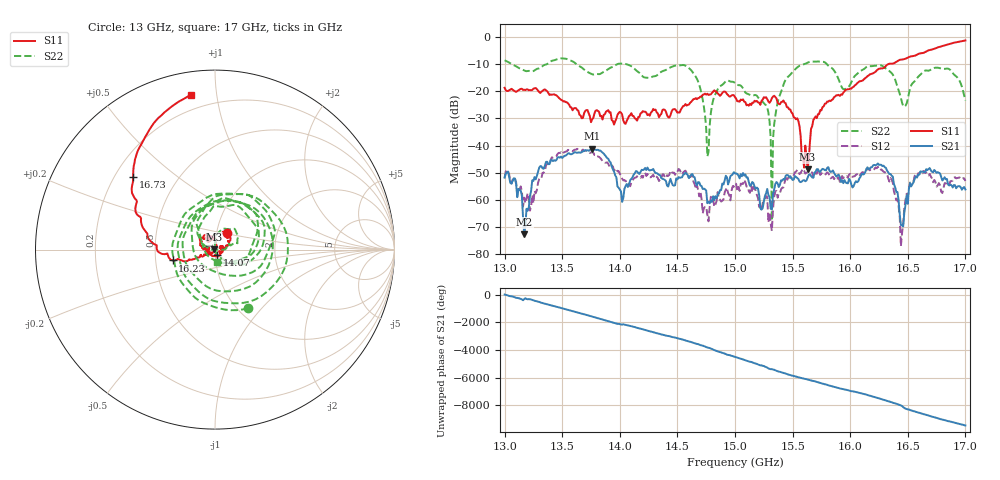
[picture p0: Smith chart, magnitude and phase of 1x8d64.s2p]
!Keysight Technologies,P9374A,MY57211807,A.19.30.04
!Date: Friday, May 08, 2026 15:22:47
!Correction: S11(C  2-Port  )
!S21(C  2-Port  )
!S12(C  2-Port  )
!S22(C  2-Port  )
!S2P File: Measurements: S11, S21, S12, S22:
# Hz S  dB  R 50
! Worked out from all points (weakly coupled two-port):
!   401 points, 13 GHz to 17 GHz, reference 50 ohm
!   highest |S21| = -41.12 dB at 13.76 GHz (marker M1); lowest = -72.8 dB at 13.17 GHz (marker M2)
!   lowest |S11| = -48.7 dB at 15.63 GHz (marker M3), VSWR 1.01, Z = 49.7 + j0.164 ohm
!   |S11| at or under -10 dB: start of sweep to 16.33 GHz
!   |S22| runs from -67.7 to -7.8 dB; largest |S21 - S12| = 0.0023
!   S11 on the Smith chart (normalised r, x): 13 GHz: 1.12, +0.22; 14.07 GHz: 1.02, -0.06; 16.23 GHz: 0.61, -0.08; 16.73 GHz: 0.27, +0.36; 17 GHz: 0.12, +0.85
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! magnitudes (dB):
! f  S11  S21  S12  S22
! 13 GHz  -18.7  -51.9  -51.8  -8.5
! 13.17 GHz  -19.4  -72.8  -59.3  -12.2
! 13.31 GHz  -20.6  -47.6  -51.7  -11.3
! 13.67 GHz  -29.9  -42.4  -41.9  -11.2
! 13.76 GHz  -30.3  -41.1  -42.5  -13.7
! 14.07 GHz  -30.0  -55.3  -53.8  -10.1
! 14.34 GHz  -29.6  -50.9  -53.1  -13.4
! 14.63 GHz  -23.4  -50.5  -51.5  -12.8
! 14.76 GHz  -20.9  -61.3  -65.6  -44.0
! 14.84 GHz  -20.2  -59.5  -60.5  -20.1
! 15 GHz  -22.1  -50.3  -53.9  -16.9
! 15.26 GHz  -22.3  -58.7  -59.4  -24.8
! 15.32 GHz  -22.5  -63.7  -71.6  -67.7
! 15.43 GHz  -24.2  -52.6  -53.8  -16.5
! 15.63 GHz  -48.7  -51.9  -49.7  -9.4
! 15.67 GHz  -32.9  -51.8  -50.0  -9.0
! 16.23 GHz  -12.3  -47.1  -48.4  -10.5
! 16.34 GHz  -9.8  -50.5  -53.3  -12.5
! 16.45 GHz  -8.2  -69.5  -72.4  -24.1
! 16.54 GHz  -7.0  -54.2  -53.5  -17.1
! 16.73 GHz  -4.3  -49.0  -52.7  -11.3
! 17 GHz  -1.2  -56.2  -53.1  -23.3
